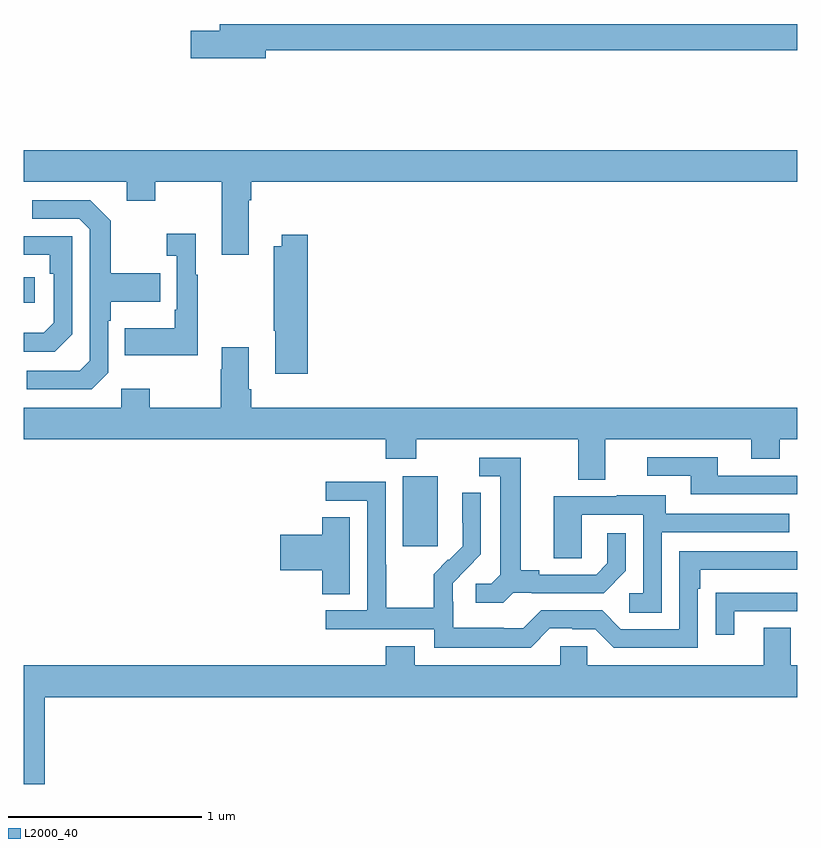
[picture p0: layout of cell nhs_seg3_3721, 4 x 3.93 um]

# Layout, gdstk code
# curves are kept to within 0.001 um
import gdstk
lib = gdstk.Library(unit=1e-6, precision=1e-09)
def R(c, l, rs):  # rectangles x0, y0, x1, y1
    for r in rs: c.add(gdstk.rectangle(r[:2], r[2:], *l))
def P(c, l, *ps):  # polygons
    for p in ps: c.add(gdstk.Polygon(p, *l))
L2000_40 = (2000, 40)

nhs_seg3_3721 = lib.new_cell('nhs_seg3_3721')
R(nhs_seg3_3721, L2000_40, [(304.961,733.665,305.14,734.026), (303,734.924,303.058,735.054)])
P(nhs_seg3_3721, L2000_40, [(304.252,736.228),(307,736.228),(307,736.364),(304.013,736.364),(304.013,736.328),(303.864,736.328),(303.864,736.186),(304.252,736.186)],
  [(304.165,735.452),(304.178,735.452),(304.178,735.548),(307,735.548),(307,735.712),(303,735.712),(303,735.548),(303.533,735.548),(303.533,735.449),(303.681,735.449),(303.681,735.548),(304.025,735.548),(304.025,735.171),(304.165,735.171)],
  [(303.438,734.562),(303.438,734.831),(303.451,734.831),(303.451,734.927),(303.707,734.927),(303.707,735.075),(303.451,735.075),(303.451,735.347),(303.345,735.453),(303.045,735.453),(303.045,735.357),(303.288,735.357),(303.342,735.303),(303.342,734.622),(303.291,734.571),(303.015,734.571),(303.015,734.475),(303.351,734.475)],
  [(303.901,735.067),(303.889,735.067),(303.889,735.28),(303.741,735.28),(303.741,735.167),(303.792,735.167),(303.792,734.887),(303.78,734.887),(303.78,734.791),(303.523,734.791),(303.523,734.651),(303.901,734.651)],
  [(304.469,735.274),(304.334,735.274),(304.334,735.214),(304.294,735.214),(304.294,734.779),(304.301,734.779),(304.301,734.556),(304.469,734.556)],
  [(303.252,734.76),(303.252,735.267),(303,735.267),(303,735.171),(303.136,735.171),(303.136,735.074),(303.156,735.074),(303.156,734.82),(303.103,734.767),(303,734.767),(303,734.67),(303.162,734.67)],
  [(304.178,734.476),(304.165,734.476),(304.165,734.692),(304.025,734.692),(304.025,734.579),(304.018,734.579),(304.018,734.38),(303.651,734.38),(303.651,734.479),(303.504,734.479),(303.504,734.38),(303,734.38),(303,734.216),(304.871,734.216),(304.871,734.117),(305.031,734.117),(305.031,734.216),(305.867,734.216),(305.867,734.008),(306.007,734.008),(306.007,734.216),(306.761,734.216),(306.761,734.117),(306.909,734.117),(306.909,734.216),(307,734.216),(307,734.38),(304.178,734.38)],
  [(307,734.028),(306.589,734.028),(306.589,734.124),(306.225,734.124),(306.225,734.028),(306.449,734.028),(306.449,733.932),(307,733.932)],
  [(305.532,733.425),(305.626,733.425),(305.626,733.422),(305.998,733.422),(306.114,733.538),(306.114,733.732),(306.017,733.732),(306.017,733.575),(305.96,733.518),(305.665,733.518),(305.665,733.541),(305.569,733.541),(305.569,734.121),(305.355,734.121),(305.355,734.025),(305.465,734.025),(305.465,733.517),(305.418,733.47),(305.337,733.47),(305.337,733.373),(305.48,733.373)],
  [(305.721,733.239),(305.837,733.239),(305.837,733.236),(305.955,733.236),(306.051,733.14),(306.486,733.14),(306.486,733.445),(306.499,733.445),(306.499,733.542),(307,733.542),(307,733.638),(306.39,733.638),(306.39,733.236),(306.087,733.236),(305.991,733.332),(305.676,733.332),(305.583,733.239),(305.483,733.239),(305.483,733.243),(305.22,733.243),(305.22,733.377),(305.218,733.377),(305.218,733.474),(305.364,733.622),(305.364,733.94),(305.268,733.94),(305.268,733.786),(305.27,733.786),(305.27,733.664),(305.199,733.593),(305.196,733.596),(305.119,733.519),(305.119,733.345),(304.875,733.345),(304.875,733.568),(304.872,733.568),(304.872,733.998),(304.563,733.998),(304.563,733.899),(304.776,733.899),(304.776,733.332),(304.563,733.332),(304.563,733.236),(305.124,733.236),(305.124,733.139),(305.621,733.139)],
  [(306.3,733.737),(306.959,733.737),(306.959,733.833),(306.319,733.833),(306.319,733.927),(306.065,733.927),(306.065,733.923),(305.741,733.923),(305.741,733.603),(305.886,733.603),(305.886,733.827),(306.204,733.827),(306.204,733.422),(306.132,733.422),(306.132,733.321),(306.3,733.321)],
  [(304.687,733.814),(304.544,733.814),(304.544,733.724),(304.326,733.724),(304.326,733.541),(304.544,733.541),(304.544,733.417),(304.687,733.417)],
  [(306.673,733.329),(307,733.329),(307,733.425),(306.679,733.425),(306.679,733.424),(306.577,733.424),(306.577,733.206),(306.673,733.206)],
  [(303.109,732.884),(307,732.884),(307,733.048),(306.967,733.048),(306.967,733.243),(306.827,733.243),(306.827,733.048),(305.913,733.048),(305.913,733.146),(305.775,733.146),(305.775,733.048),(305.023,733.048),(305.023,733.147),(304.871,733.147),(304.871,733.048),(303,733.048),(303,732.435),(303.109,732.435)])

lib.write_gds('nhs_seg3_3721.gds')
